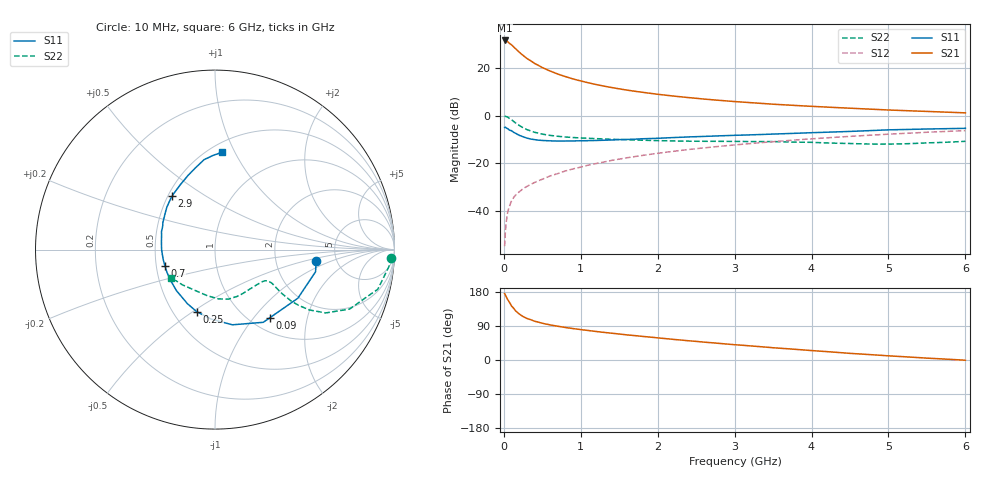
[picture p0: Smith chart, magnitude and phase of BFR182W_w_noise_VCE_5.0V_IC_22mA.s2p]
! (c) 2017  Infineon Technologies AG, Munich
! Infineon Technologies  Discrete & RF Semiconductors
! BFR182W
! VCE =  5.0 V,  IC =  22 mA
! Common Emitter S-Parameters:  Jan 2017
# GHz  S  MA  R  50
!  f  S11  S21  S12  S22
! GHz  MAG  ANG  MAG  ANG  MAG  ANG  MAG  ANG
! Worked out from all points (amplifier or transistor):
!   77 points, 10 MHz to 6 GHz, reference 50 ohm
!   highest |S21| = 31.7 dB at 10 MHz (marker M1)
!   |S21| within 3 dB of that: start of sweep to 136.7 MHz
!   unconditionally stable (mu >= 1): 829.9 MHz to 2.314 GHz
!   at 130 MHz: K = 0.42, MSG = 31.6 dB, |S12| = -34.3 dB
!   at 2.2 GHz: K = 1.01, MAG = 11.1 dB, |S12| = -15.0 dB
!   at 6 GHz: K = 0.87, MSG = 3.7 dB, |S12| = -6.3 dB
!   lowest NFmin = 1.47 dB at 450 MHz
!   S11 on the Smith chart (normalised r, x): 10 MHz: 3.49, -0.64; 90 MHz: 1.22, -1.22; 250 MHz: 0.65, -0.52; 700 MHz: 0.56, -0.11; 2.9 GHz: 0.53, +0.37; 6 GHz: 0.58, +0.89
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0.01  0.5671 -6.3  38.34 175.2  0.0018 72.8  0.9836 -2.6
0.02  0.5738 -12.4  38.26 171.4  0.0036 83.7  0.973 -5.7
0.05  0.5354 -30.4  36.07 159.3  0.0093 79.6  0.9333 -13.7
0.09  0.4875 -50.9  31.79 146.3  0.0148 72.7  0.8406 -21.6
0.1  0.4863 -56.4  31.02 142.6  0.0162 71.7  0.8203 -23.8
0.15  0.43 -77.0  25.91 130.3  0.0212 67.6  0.7099 -29.8
0.2  0.3875 -93.3  21.74 121.4  0.025 65.8  0.624 -32.6
0.25  0.3603 -106.5  18.57 114.6  0.0291 64.1  0.5589 -33.7
0.3  0.3383 -117.0  16.04 109.7  0.0326 64.5  0.5098 -34.0
0.4  0.3139 -133.1  12.6 102.3  0.0394 66.3  0.4478 -33.3
0.5  0.3015 -145.1  10.31 97.0  0.0461 67.5  0.4098 -32.2
0.6  0.2962 -154.8  8.732 92.7  0.0539 68.3  0.3859 -31.3
0.7  0.2931 -162.0  7.55 89.1  0.0605 70.2  0.3695 -30.6
0.9  0.2947 -174.9  5.94 82.9  0.0761 70.3  0.348 -30.6
1.1  0.2989 175.9  4.925 77.8  0.0915 70.7  0.335 -31.3
1.5  0.3146 161.4  3.675 68.6  0.1221 69.9  0.3157 -35.0
2.1  0.3407 145.1  2.711 56.5  0.1699 66.7  0.2969 -45.1
2.9  0.3818 128.7  2.045 42.1  0.2348 61.2  0.2886 -62.6
3.1  0.3909 124.9  1.936 38.9  0.251 59.5  0.2871 -66.8
4.1  0.4445 108.7  1.547 23.5  0.3345 50.9  0.2712 -88.5
5.1  0.5083 95.8  1.301 9.8  0.4165 41.3  0.2544 -119.9
6  0.5433 85.9  1.149 -0.6  0.4862 32.3  0.2893 -147.4
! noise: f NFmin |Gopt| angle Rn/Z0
0.45  1.47  0.13  -172  0.15
0.9  1.55  0.14  -167  0.15
1.9  2.06  0.29  -141  0.17
2.4  2.34  0.31  -127  0.27
